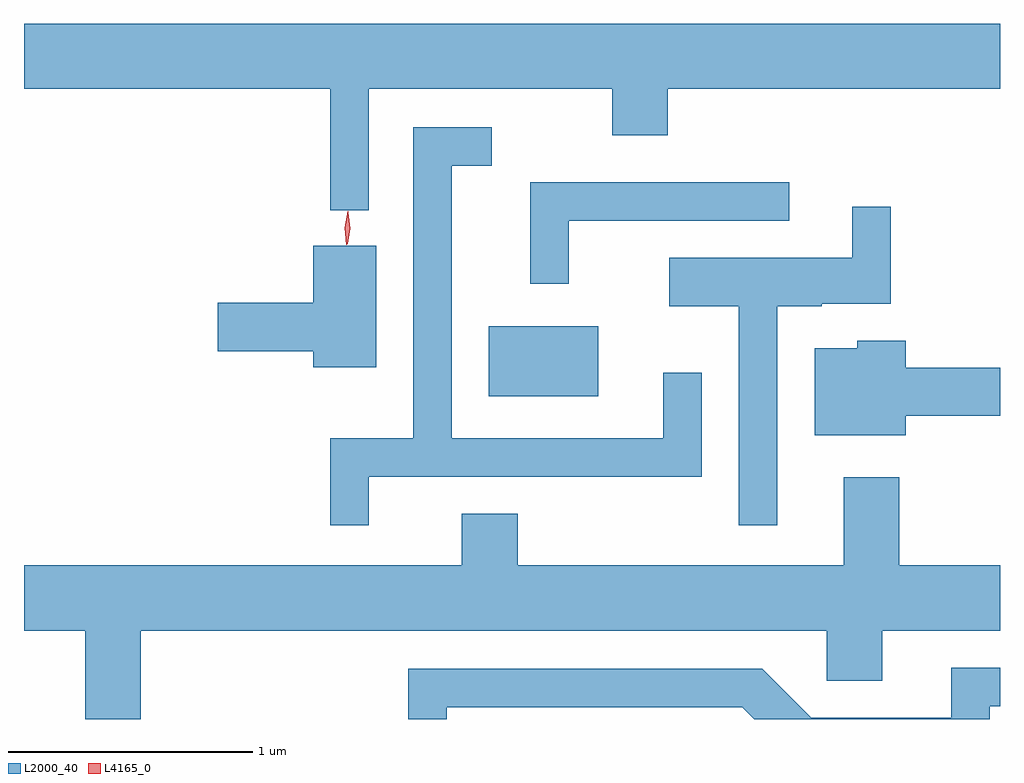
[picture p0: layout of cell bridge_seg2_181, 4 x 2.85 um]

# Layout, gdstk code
import gdstk
lib = gdstk.Library(unit=1e-6, precision=1e-09)
def R(c, l, rs):  # rectangles x0, y0, x1, y1
    for r in rs: c.add(gdstk.rectangle(r[:2], r[2:], *l))
def P(c, l, *ps):  # polygons
    for p in ps: c.add(gdstk.Polygon(p, *l))
L2000_40 = (2000, 40)
L4165_0 = (4165, 0)

bridge_seg2_181 = lib.new_cell('bridge_seg2_181')
R(bridge_seg2_181, L2000_40, [(701.816,980.456,702.264,980.744)])
P(bridge_seg2_181, L2000_40, [(701.324,981.716),(702.321,981.716),(702.321,981.526),(702.549,981.526),(702.549,981.716),(703.911,981.716),(703.911,981.984),(699.911,981.984),(699.911,981.716),(701.166,981.716),(701.166,981.218),(701.324,981.218)],
  [(701.324,980.126),(702.689,980.126),(702.689,980.553),(702.531,980.553),(702.531,980.284),(701.664,980.284),(701.664,981.401),(701.828,981.401),(701.828,981.559),(701.506,981.559),(701.506,980.284),(701.166,980.284),(701.166,979.928),(701.324,979.928)],
  [(702.144,981.176),(703.048,981.176),(703.048,981.334),(701.986,981.334),(701.986,980.918),(702.144,980.918)],
  [(702.999,980.826),(703.18,980.826),(703.18,980.836),(703.464,980.836),(703.464,981.233),(703.306,981.233),(703.306,981.024),(702.556,981.024),(702.556,980.826),(702.841,980.826),(702.841,979.928),(702.999,979.928)],
  [(701.354,981.074),(701.096,981.074),(701.096,980.839),(700.706,980.839),(700.706,980.641),(701.096,980.641),(701.096,980.576),(701.354,980.576)],
  [(703.524,980.376),(703.911,980.376),(703.911,980.574),(703.524,980.574),(703.524,980.684),(703.326,980.684),(703.326,980.654),(703.151,980.654),(703.151,980.296),(703.524,980.296)],
  [(700.389,979.496),(703.201,979.496),(703.201,979.291),(703.429,979.291),(703.429,979.496),(703.911,979.496),(703.911,979.764),(703.499,979.764),(703.499,980.124),(703.271,980.124),(703.271,979.764),(701.934,979.764),(701.934,979.974),(701.706,979.974),(701.706,979.764),(699.911,979.764),(699.911,979.496),(700.161,979.496),(700.161,979.132),(700.389,979.132)],
  [(701.644,979.181),(702.854,979.181),(702.903,979.132),(703.869,979.132),(703.869,979.186),(703.911,979.186),(703.911,979.344),(703.711,979.344),(703.711,979.139),(703.137,979.139),(702.937,979.339),(701.486,979.339),(701.486,979.132),(701.644,979.132)])
P(bridge_seg2_181, L4165_0, [(701.236,981.08),(701.236,981.081),(701.228,981.146),(701.238,981.211),(701.239,981.212),(701.239,981.211),(701.248,981.146),(701.237,981.081)],
  [(701.232,981.078),(701.232,981.078),(701.226,981.147),(701.238,981.215),(701.239,981.215),(701.239,981.215),(701.245,981.146),(701.233,981.078)])

lib.write_gds('bridge_seg2_181.gds')
